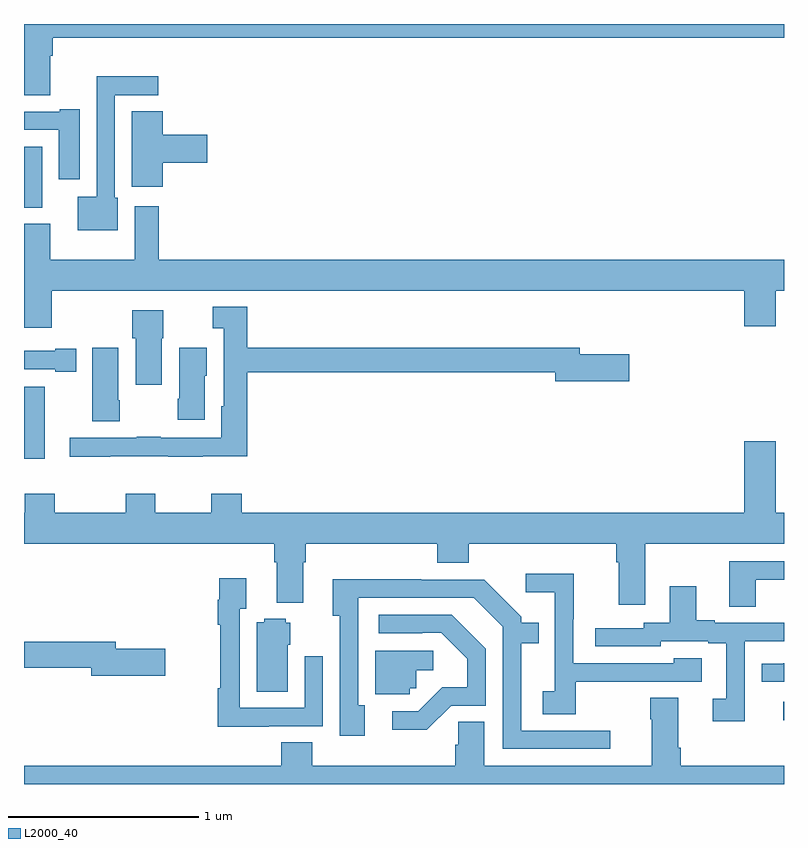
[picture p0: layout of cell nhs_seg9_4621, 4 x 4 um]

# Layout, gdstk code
import gdstk
lib = gdstk.Library(unit=1e-6, precision=1e-09)
def R(c, l, rs):  # rectangles x0, y0, x1, y1
    for r in rs: c.add(gdstk.rectangle(r[:2], r[2:], *l))
def P(c, l, *ps):  # polygons
    for p in ps: c.add(gdstk.Polygon(p, *l))
L2000_40 = (2000, 40)

nhs_seg9_4621 = lib.new_cell('nhs_seg9_4621')
R(nhs_seg9_4621, L2000_40, [(380.997,1184.836,381,1184.934), (377,1186.211,377.11,1186.591), (377,1187.534,377.095,1187.854)])
P(nhs_seg9_4621, L2000_40, [(377.137,1188.332),(377.15,1188.332),(377.15,1188.428),(381,1188.428),(381,1188.5),(377,1188.5),(377,1188.124),(377.137,1188.124)],
  [(377.494,1187.586),(377.478,1187.586),(377.478,1188.126),(377.707,1188.126),(377.707,1188.224),(377.382,1188.224),(377.382,1187.59),(377.282,1187.59),(377.282,1187.414),(377.494,1187.414)],
  [(377.293,1188.052),(377.189,1188.052),(377.189,1188.039),(377,1188.039),(377,1187.943),(377.183,1187.943),(377.183,1187.682),(377.293,1187.682)],
  [(377.729,1187.771),(377.965,1187.771),(377.965,1187.918),(377.729,1187.918),(377.729,1188.041),(377.567,1188.041),(377.567,1187.643),(377.729,1187.643)],
  [(377.145,1187.096),(380.792,1187.096),(380.792,1186.908),(380.956,1186.908),(380.956,1187.096),(381,1187.096),(381,1187.26),(377.708,1187.26),(377.708,1187.542),(377.582,1187.542),(377.582,1187.26),(377.137,1187.26),(377.137,1187.449),(377,1187.449),(377,1186.902),(377.145,1186.902)],
  [(377.453,1186.226),(377.759,1186.226),(377.759,1186.222),(377.942,1186.222),(377.942,1186.226),(378.176,1186.226),(378.176,1186.666),(379.796,1186.666),(379.796,1186.619),(380.185,1186.619),(380.185,1186.761),(379.924,1186.761),(379.924,1186.795),(378.176,1186.795),(378.176,1187.011),(377.994,1187.011),(377.994,1186.898),(378.05,1186.898),(378.05,1186.488),(378.038,1186.488),(378.038,1186.323),(377.72,1186.323),(377.72,1186.328),(377.593,1186.328),(377.593,1186.323),(377.241,1186.323),(377.241,1186.222),(377.453,1186.222)],
  [(377.725,1186.845),(377.734,1186.845),(377.734,1186.993),(377.569,1186.993),(377.569,1186.845),(377.588,1186.845),(377.588,1186.602),(377.725,1186.602)],
  [(377.95,1186.65),(377.962,1186.65),(377.962,1186.795),(377.816,1186.795),(377.816,1186.528),(377.809,1186.528),(377.809,1186.416),(377.95,1186.416)],
  [(377.505,1186.519),(377.497,1186.519),(377.497,1186.795),(377.36,1186.795),(377.36,1186.408),(377.505,1186.408)],
  [(377.275,1186.792),(377.165,1186.792),(377.165,1186.779),(377,1186.779),(377,1186.683),(377.165,1186.683),(377.165,1186.671),(377.275,1186.671)],
  [(378.317,1185.668),(378.329,1185.668),(378.329,1185.455),(378.469,1185.455),(378.469,1185.668),(378.482,1185.668),(378.482,1185.764),(379.175,1185.764),(379.175,1185.665),(379.34,1185.665),(379.34,1185.764),(380.117,1185.764),(380.117,1185.668),(380.129,1185.668),(380.129,1185.444),(380.269,1185.444),(380.269,1185.764),(381,1185.764),(381,1185.928),(380.956,1185.928),(380.956,1186.303),(380.792,1186.303),(380.792,1185.928),(378.146,1185.928),(378.146,1186.027),(377.986,1186.027),(377.986,1185.928),(377.691,1185.928),(377.691,1186.027),(377.536,1186.027),(377.536,1185.928),(377.163,1185.928),(377.163,1186.027),(377.003,1186.027),(377.003,1185.928),(377,1185.928),(377,1185.764),(378.317,1185.764)],
  [(380.851,1185.576),(381,1185.576),(381,1185.672),(380.711,1185.672),(380.711,1185.433),(380.851,1185.433)],
  [(379.903,1185.037),(380.207,1185.037),(380.207,1185.039),(380.566,1185.039),(380.566,1185.163),(380.421,1185.163),(380.421,1185.135),(379.89,1185.135),(379.89,1185.368),(379.893,1185.368),(379.893,1185.607),(379.641,1185.607),(379.641,1185.509),(379.794,1185.509),(379.794,1184.988),(379.731,1184.988),(379.731,1184.866),(379.903,1184.866)],
  [(378.289,1184.805),(378.573,1184.805),(378.573,1185.172),(378.477,1185.172),(378.477,1184.901),(378.135,1184.901),(378.135,1185.422),(378.169,1185.422),(378.169,1185.583),(378.027,1185.583),(378.027,1185.47),(378.019,1185.47),(378.019,1185.338),(378.034,1185.338),(378.034,1185.005),(378.019,1185.005),(378.019,1184.801),(378.289,1184.801)],
  [(380.086,1184.781),(379.618,1184.781),(379.618,1185.24),(379.709,1185.24),(379.709,1185.349),(379.617,1185.349),(379.617,1185.381),(379.422,1185.576),(379.091,1185.576),(379.091,1185.578),(378.626,1185.578),(378.626,1185.386),(378.663,1185.386),(378.663,1184.754),(378.793,1184.754),(378.793,1184.914),(378.759,1184.914),(378.759,1185.48),(379.368,1185.48),(379.521,1185.327),(379.521,1184.685),(380.086,1184.685)],
  [(380.793,1185.252),(381,1185.252),(381,1185.348),(380.635,1185.348),(380.635,1185.361),(380.539,1185.361),(380.539,1185.541),(380.399,1185.541),(380.399,1185.348),(380.262,1185.348),(380.262,1185.321),(380.007,1185.321),(380.007,1185.225),(380.352,1185.225),(380.352,1185.252),(380.6,1185.252),(380.6,1185.24),(380.696,1185.24),(380.696,1184.949),(380.625,1184.949),(380.625,1184.829),(380.793,1184.829)],
  [(379.248,1184.913),(379.431,1184.913),(379.431,1185.211),(379.252,1185.39),(378.867,1185.39),(378.867,1185.294),(379.097,1185.294),(379.097,1185.297),(379.197,1185.297),(379.334,1185.16),(379.334,1185.01),(379.201,1185.01),(379.074,1184.883),(378.939,1184.883),(378.939,1184.786),(379.12,1184.786)],
  [(378.388,1185.234),(378.4,1185.234),(378.4,1185.348),(378.378,1185.348),(378.378,1185.37),(378.264,1185.37),(378.264,1185.352),(378.224,1185.352),(378.224,1184.986),(378.388,1184.986)],
  [(377.743,1185.212),(377.482,1185.212),(377.482,1185.248),(377,1185.248),(377,1185.112),(377.354,1185.112),(377.354,1185.07),(377.743,1185.07)],
  [(379.029,1185.003),(379.065,1185.003),(379.065,1185.098),(379.153,1185.098),(379.153,1185.201),(378.848,1185.201),(378.848,1184.973),(379.029,1184.973)],
  [(381,1185.135),(380.995,1185.135),(380.995,1185.134),(380.883,1185.134),(380.883,1185.039),(381,1185.039)],
  [(381,1184.596),(380.456,1184.596),(380.456,1184.692),(380.443,1184.692),(380.443,1184.953),(380.296,1184.953),(380.296,1184.84),(380.303,1184.84),(380.303,1184.596),(379.423,1184.596),(379.423,1184.828),(379.285,1184.828),(379.285,1184.706),(379.271,1184.706),(379.271,1184.596),(378.518,1184.596),(378.518,1184.72),(378.353,1184.72),(378.353,1184.596),(377,1184.596),(377,1184.5),(381,1184.5)])

lib.write_gds('nhs_seg9_4621.gds')
